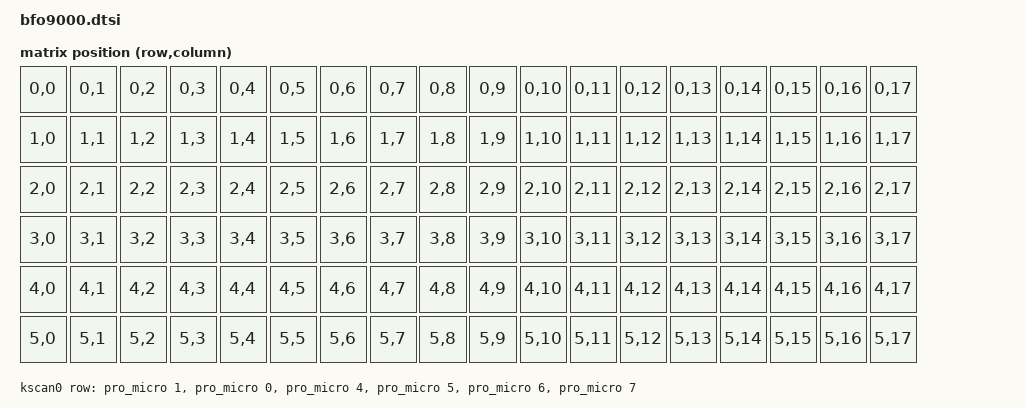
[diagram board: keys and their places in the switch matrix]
 /*
 * Copyright (c) 2020 The ZMK Contributors
 *
 * SPDX-License-Identifier: MIT
 */

#include <dt-bindings/zmk/matrix-transform.h>

/ {
	chosen {
		zmk,kscan = &kscan0;
		zmk,matrix_transform = &default_transform;
	};

	default_transform: keymap_transform_0 {
		compatible = "zmk,matrix-transform";
		columns = <18>;
		rows = <6>;
		map = <
		RC(0,0) RC(0,1) RC(0,2) RC(0,3) RC(0,4) RC(0,5) RC(0,6) RC(0,7) RC(0,8) RC(0,9) RC(0,10) RC(0,11) RC(0,12) RC(0,13) RC(0,14) RC(0,15) RC(0,16) RC(0,17)
		RC(1,0) RC(1,1) RC(1,2) RC(1,3) RC(1,4) RC(1,5) RC(1,6) RC(1,7) RC(1,8) RC(1,9) RC(1,10) RC(1,11) RC(1,12) RC(1,13) RC(1,14) RC(1,15) RC(1,16) RC(1,17)
		RC(2,0) RC(2,1) RC(2,2) RC(2,3) RC(2,4) RC(2,5) RC(2,6) RC(2,7) RC(2,8) RC(2,9) RC(2,10) RC(2,11) RC(2,12) RC(2,13) RC(2,14) RC(2,15) RC(2,16) RC(2,17)
		RC(3,0) RC(3,1) RC(3,2) RC(3,3) RC(3,4) RC(3,5) RC(3,6) RC(3,7) RC(3,8) RC(3,9) RC(3,10) RC(3,11) RC(3,12) RC(3,13) RC(3,14) RC(3,15) RC(3,16) RC(3,17)
		RC(4,0) RC(4,1) RC(4,2) RC(4,3) RC(4,4) RC(4,5) RC(4,6) RC(4,7) RC(4,8) RC(4,9) RC(4,10) RC(4,11) RC(4,12) RC(4,13) RC(4,14) RC(4,15) RC(4,16) RC(4,17)
		RC(5,0) RC(5,1) RC(5,2) RC(5,3) RC(5,4) RC(5,5) RC(5,6) RC(5,7) RC(5,8) RC(5,9) RC(5,10) RC(5,11) RC(5,12) RC(5,13) RC(5,14) RC(5,15) RC(5,16) RC(5,17)
		>;
	};

	kscan0: kscan {
		compatible = "zmk,kscan-gpio-matrix";
		label = "KSCAN";

		diode-direction = "col2row";
		row-gpios
			= <&pro_micro 1 (GPIO_ACTIVE_HIGH | GPIO_PULL_DOWN)>
			, <&pro_micro 0 (GPIO_ACTIVE_HIGH | GPIO_PULL_DOWN)>
			, <&pro_micro 4 (GPIO_ACTIVE_HIGH | GPIO_PULL_DOWN)>
			, <&pro_micro 5 (GPIO_ACTIVE_HIGH | GPIO_PULL_DOWN)>
			, <&pro_micro 6 (GPIO_ACTIVE_HIGH | GPIO_PULL_DOWN)>
			, <&pro_micro 7 (GPIO_ACTIVE_HIGH | GPIO_PULL_DOWN)>
			;

	};
};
